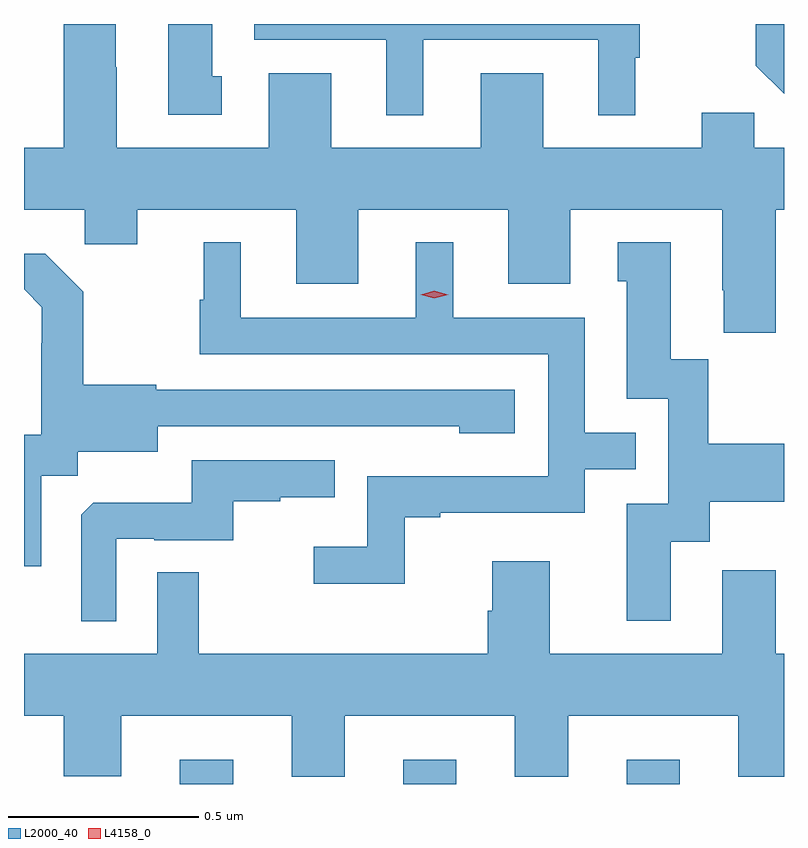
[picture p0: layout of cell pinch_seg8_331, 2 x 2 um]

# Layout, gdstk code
import gdstk
lib = gdstk.Library(unit=1e-6, precision=1e-09)
def R(c, l, rs):  # rectangles x0, y0, x1, y1
    for r in rs: c.add(gdstk.rectangle(r[:2], r[2:], *l))
def A(c, l, x, y, w, h, nx, ny, dx, dy):  # array of equal rectangles
    R(c, l, [(x+i*dx, y+j*dy, x+i*dx+w, y+j*dy+h) for i in range(nx) for j in range(ny)])
def P(c, l, *ps):  # polygons
    for p in ps: c.add(gdstk.Polygon(p, *l))
L2000_40 = (2000, 40)
L4158_0 = (4158, 0)

pinch_seg8_331 = lib.new_cell('pinch_seg8_331')
A(pinch_seg8_331, L2000_40, 606.239, 1130.973, 0.14, 0.064, 3, 1, 0.588, 0)
P(pinch_seg8_331, L2000_40, [(606.88,1132.932),(607.34,1132.932),(607.34,1132.733),(607.438,1132.733),(607.438,1132.884),(607.45,1132.884),(607.45,1132.973),(606.435,1132.973),(606.435,1132.932),(606.782,1132.932),(606.782,1132.733),(606.88,1132.733)],
  [(607.829,1132.973),(607.755,1132.973),(607.755,1132.863),(607.829,1132.789)],
  [(606.349,1132.836),(606.325,1132.836),(606.325,1132.973),(606.209,1132.973),(606.209,1132.734),(606.349,1132.734)],
  [(607.807,1132.484),(607.829,1132.484),(607.829,1132.648),(607.751,1132.648),(607.751,1132.739),(607.613,1132.739),(607.613,1132.648),(607.195,1132.648),(607.195,1132.843),(607.031,1132.843),(607.031,1132.648),(606.637,1132.648),(606.637,1132.843),(606.473,1132.843),(606.473,1132.648),(606.073,1132.648),(606.073,1132.859),(606.07,1132.859),(606.07,1132.972),(605.933,1132.972),(605.933,1132.648),(605.829,1132.648),(605.829,1132.484),(605.989,1132.484),(605.989,1132.394),(606.127,1132.394),(606.127,1132.484),(606.545,1132.484),(606.545,1132.29),(606.709,1132.29),(606.709,1132.484),(607.103,1132.484),(607.103,1132.29),(607.267,1132.29),(607.267,1132.484),(607.667,1132.484),(607.667,1132.273),(607.67,1132.273),(607.67,1132.161),(607.807,1132.161)],
  [(607.531,1131.61),(607.633,1131.61),(607.633,1131.716),(607.829,1131.716),(607.829,1131.868),(607.629,1131.868),(607.629,1132.091),(607.531,1132.091),(607.531,1132.399),(607.391,1132.399),(607.391,1132.296),(607.415,1132.296),(607.415,1131.987),(607.524,1131.987),(607.524,1131.711),(607.415,1131.711),(607.415,1131.402),(607.531,1131.402)],
  [(606.831,1131.675),(606.925,1131.675),(606.925,1131.687),(607.305,1131.687),(607.305,1131.801),(607.439,1131.801),(607.439,1131.897),(607.305,1131.897),(607.305,1132.2),(606.958,1132.2),(606.958,1132.399),(606.86,1132.399),(606.86,1132.2),(606.4,1132.2),(606.4,1132.399),(606.302,1132.399),(606.302,1132.248),(606.291,1132.248),(606.291,1132.104),(607.209,1132.104),(607.209,1131.783),(606.732,1131.783),(606.732,1131.598),(606.591,1131.598),(606.591,1131.5),(606.831,1131.5)],
  [(605.875,1131.784),(605.97,1131.784),(605.97,1131.848),(606.181,1131.848),(606.181,1131.915),(606.739,1131.915),(606.739,1131.914),(606.975,1131.914),(606.975,1131.896),(607.12,1131.896),(607.12,1132.011),(606.177,1132.011),(606.177,1132.024),(605.985,1132.024),(605.985,1132.269),(605.885,1132.369),(605.829,1132.369),(605.829,1132.275),(605.876,1132.228),(605.876,1132.133),(605.874,1132.133),(605.874,1131.892),(605.829,1131.892),(605.829,1131.546),(605.875,1131.546)],
  [(606.072,1131.618),(606.172,1131.618),(606.172,1131.615),(606.38,1131.615),(606.38,1131.717),(606.503,1131.717),(606.503,1131.728),(606.647,1131.728),(606.647,1131.825),(606.27,1131.825),(606.27,1131.713),(606.011,1131.713),(605.979,1131.681),(605.979,1131.401),(606.072,1131.401)],
  [(606.673,1131.152),(607.121,1131.152),(607.121,1130.992),(607.261,1130.992),(607.261,1131.152),(607.709,1131.152),(607.709,1130.992),(607.829,1130.992),(607.829,1131.316),(607.807,1131.316),(607.807,1131.535),(607.667,1131.535),(607.667,1131.316),(607.213,1131.316),(607.213,1131.559),(607.061,1131.559),(607.061,1131.429),(607.049,1131.429),(607.049,1131.316),(606.289,1131.316),(606.289,1131.53),(606.18,1131.53),(606.18,1131.316),(605.829,1131.316),(605.829,1131.152),(605.933,1131.152),(605.933,1130.993),(606.085,1130.993),(606.085,1131.152),(606.533,1131.152),(606.533,1130.992),(606.673,1130.992)])
P(pinch_seg8_331, L4158_0, [(606.909,1132.251),(606.873,1132.26),(606.873,1132.261),(606.873,1132.261),(606.909,1132.271),(606.945,1132.261),(606.945,1132.261),(606.945,1132.26)])

lib.write_gds('pinch_seg8_331.gds')
